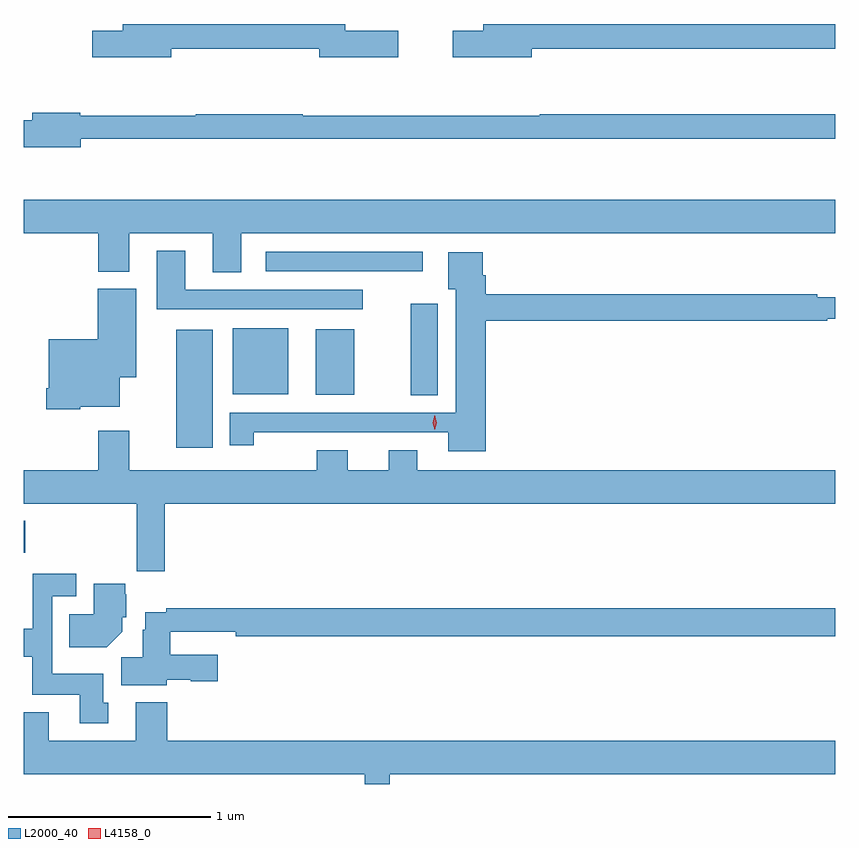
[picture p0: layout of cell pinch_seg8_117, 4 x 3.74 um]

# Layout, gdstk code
import gdstk
lib = gdstk.Library(unit=1e-6, precision=1e-09)
def R(c, l, rs):  # rectangles x0, y0, x1, y1
    for r in rs: c.add(gdstk.rectangle(r[:2], r[2:], *l))
def P(c, l, *ps):  # polygons
    for p in ps: c.add(gdstk.Polygon(p, *l))
L2000_40 = (2000, 40)
L4158_0 = (4158, 0)

pinch_seg8_117 = lib.new_cell('pinch_seg8_117')
R(pinch_seg8_117, L2000_40, [(1048.113,1097.611,1048.121,1097.767), (1048.865,1098.128,1049.044,1098.709), (1050.02,1098.385,1050.154,1098.838), (1049.552,1098.389,1049.743,1098.712), (1049.144,1098.392,1049.416,1098.715), (1049.307,1098.996,1050.079,1099.092)])
P(pinch_seg8_117, L2000_40, [(1048.84,1100.094),(1049.57,1100.094),(1049.57,1100.051),(1049.959,1100.051),(1049.959,1100.181),(1049.698,1100.181),(1049.698,1100.215),(1048.601,1100.215),(1048.601,1100.181),(1048.452,1100.181),(1048.452,1100.051),(1048.84,1100.051)],
  [(1050.616,1100.094),(1052.113,1100.094),(1052.113,1100.215),(1050.377,1100.215),(1050.377,1100.181),(1050.228,1100.181),(1050.228,1100.051),(1050.616,1100.051)],
  [(1048.396,1099.65),(1052.113,1099.65),(1052.113,1099.771),(1050.655,1099.771),(1050.655,1099.763),(1049.489,1099.763),(1049.489,1099.771),(1048.961,1099.771),(1048.961,1099.763),(1048.392,1099.763),(1048.392,1099.778),(1048.157,1099.778),(1048.157,1099.742),(1048.113,1099.742),(1048.113,1099.607),(1048.396,1099.607)],
  [(1049.185,1099.184),(1052.113,1099.184),(1052.113,1099.348),(1048.113,1099.348),(1048.113,1099.184),(1048.481,1099.184),(1048.481,1098.995),(1048.633,1098.995),(1048.633,1099.184),(1049.045,1099.184),(1049.045,1098.991),(1049.185,1098.991)],
  [(1049.785,1098.906),(1048.909,1098.906),(1048.909,1099.099),(1048.769,1099.099),(1048.769,1098.81),(1049.785,1098.81)],
  [(1050.389,1098.754),(1052.072,1098.754),(1052.072,1098.762),(1052.113,1098.762),(1052.113,1098.87),(1052.024,1098.87),(1052.024,1098.883),(1050.389,1098.883),(1050.389,1098.977),(1050.376,1098.977),(1050.376,1099.09),(1050.206,1099.09),(1050.206,1098.908),(1050.242,1098.908),(1050.242,1098.3),(1049.129,1098.3),(1049.129,1098.141),(1049.247,1098.141),(1049.247,1098.203),(1049.474,1098.203),(1049.474,1098.204),(1050.206,1098.204),(1050.206,1098.11),(1050.389,1098.11)],
  [(1048.392,1098.329),(1048.588,1098.329),(1048.588,1098.476),(1048.669,1098.476),(1048.669,1098.91),(1048.478,1098.91),(1048.478,1098.661),(1048.238,1098.661),(1048.238,1098.421),(1048.226,1098.421),(1048.226,1098.317),(1048.392,1098.317)],
  [(1048.808,1097.852),(1052.113,1097.852),(1052.113,1098.016),(1050.052,1098.016),(1050.052,1098.115),(1049.912,1098.115),(1049.912,1098.016),(1049.71,1098.016),(1049.71,1098.115),(1049.558,1098.115),(1049.558,1098.016),(1048.633,1098.016),(1048.633,1098.211),(1048.481,1098.211),(1048.481,1098.016),(1048.113,1098.016),(1048.113,1097.852),(1048.672,1097.852),(1048.672,1097.52),(1048.808,1097.52)],
  [(1048.531,1096.872),(1048.507,1096.872),(1048.507,1097.014),(1048.254,1097.014),(1048.254,1097.397),(1048.372,1097.397),(1048.372,1097.506),(1048.158,1097.506),(1048.158,1097.236),(1048.113,1097.236),(1048.113,1097.097),(1048.157,1097.097),(1048.157,1096.91),(1048.391,1096.91),(1048.391,1096.77),(1048.531,1096.77)],
  [(1048.6,1097.222),(1048.6,1097.292),(1048.618,1097.292),(1048.618,1097.406),(1048.613,1097.406),(1048.613,1097.458),(1048.46,1097.458),(1048.46,1097.308),(1048.339,1097.308),(1048.339,1097.144),(1048.522,1097.144)],
  [(1048.818,1096.985),(1048.938,1096.985),(1048.938,1096.978),(1049.071,1096.978),(1049.071,1097.107),(1048.835,1097.107),(1048.835,1097.22),(1049.158,1097.22),(1049.158,1097.2),(1052.113,1097.2),(1052.113,1097.336),(1048.816,1097.336),(1048.816,1097.318),(1048.712,1097.318),(1048.712,1097.232),(1048.7,1097.232),(1048.7,1097.096),(1048.595,1097.096),(1048.595,1096.958),(1048.818,1096.958)],
  [(1049.795,1096.471),(1049.917,1096.471),(1049.917,1096.52),(1052.113,1096.52),(1052.113,1096.684),(1048.82,1096.684),(1048.82,1096.873),(1048.667,1096.873),(1048.667,1096.684),(1048.237,1096.684),(1048.237,1096.825),(1048.113,1096.825),(1048.113,1096.52),(1049.795,1096.52)])
P(pinch_seg8_117, L4158_0, [(1050.138,1098.215),(1050.129,1098.251),(1050.139,1098.287),(1050.139,1098.287),(1050.14,1098.287),(1050.149,1098.251),(1050.139,1098.215),(1050.139,1098.215)])

lib.write_gds('pinch_seg8_117.gds')
